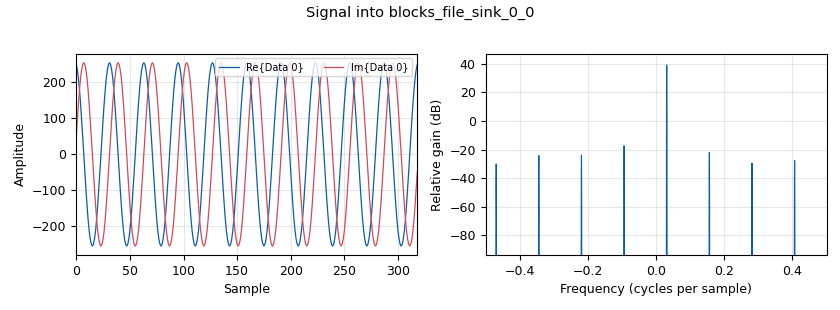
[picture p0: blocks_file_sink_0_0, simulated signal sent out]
options:
  parameters:
    generate_options: qt_gui
    id: File_Sink_Experiment
    output_language: python
    title: FIle_Sink_Experiment
  states: {}

blocks:
- name: samp_rate
  id: variable
  parameters:
    value: '32000'
  states: {}
- name: analog_const_source_x_0
  id: analog_const_source_x
  parameters:
    const: '1'
    type: complex
  states: {}
- name: analog_sig_source_x_0
  id: analog_sig_source_x
  parameters:
    amp: '255'
    freq: '1000'
    offset: '0'
    phase: '0'
    samp_rate: samp_rate
    type: short
    waveform: analog.GR_COS_WAVE
  states: {}
- name: analog_sig_source_x_0_0
  id: analog_sig_source_x
  parameters:
    amp: '255'
    freq: '1000'
    offset: '0'
    phase: '0'
    samp_rate: samp_rate
    type: short
    waveform: analog.GR_SIN_WAVE
  states: {}
- name: blocks_file_sink_0_0
  id: blocks_file_sink
  parameters:
    file: /home/samnolan/OSLA_research/ww_uhd/host/osla-host/interference/gnuradio/log/c16_freq1k_32k.bin
    type: short
    vlen: '2'
  states: {}
- name: blocks_freqshift_cc_0
  id: blocks_freqshift_cc
  parameters:
    freq: '10000'
    sample_rate: samp_rate
  states: {}
- name: blocks_head_0_0
  id: blocks_head
  parameters:
    num_items: samp_rate*3
    type: short
    vlen: '2'
  states: {}
- name: blocks_streams_to_vector_0
  id: blocks_streams_to_vector
  parameters:
    type: short
  states: {}
- name: blocks_throttle_0
  id: blocks_throttle
  parameters:
    samples_per_second: samp_rate
    type: complex
  states: {}
- name: blocks_throttle_0_0
  id: blocks_throttle
  parameters:
    samples_per_second: samp_rate
    type: short
    vlen: '2'
  states: {}

connections:
- [analog_const_source_x_0, '0', blocks_freqshift_cc_0, '0']
- [analog_sig_source_x_0, '0', blocks_streams_to_vector_0, '0']
- [analog_sig_source_x_0_0, '0', blocks_streams_to_vector_0, '1']
- [blocks_freqshift_cc_0, '0', blocks_throttle_0, '0']
- [blocks_head_0_0, '0', blocks_file_sink_0_0, '0']
- [blocks_streams_to_vector_0, '0', blocks_throttle_0_0, '0']
- [blocks_throttle_0_0, '0', blocks_head_0_0, '0']

metadata:
  file_format: 1
